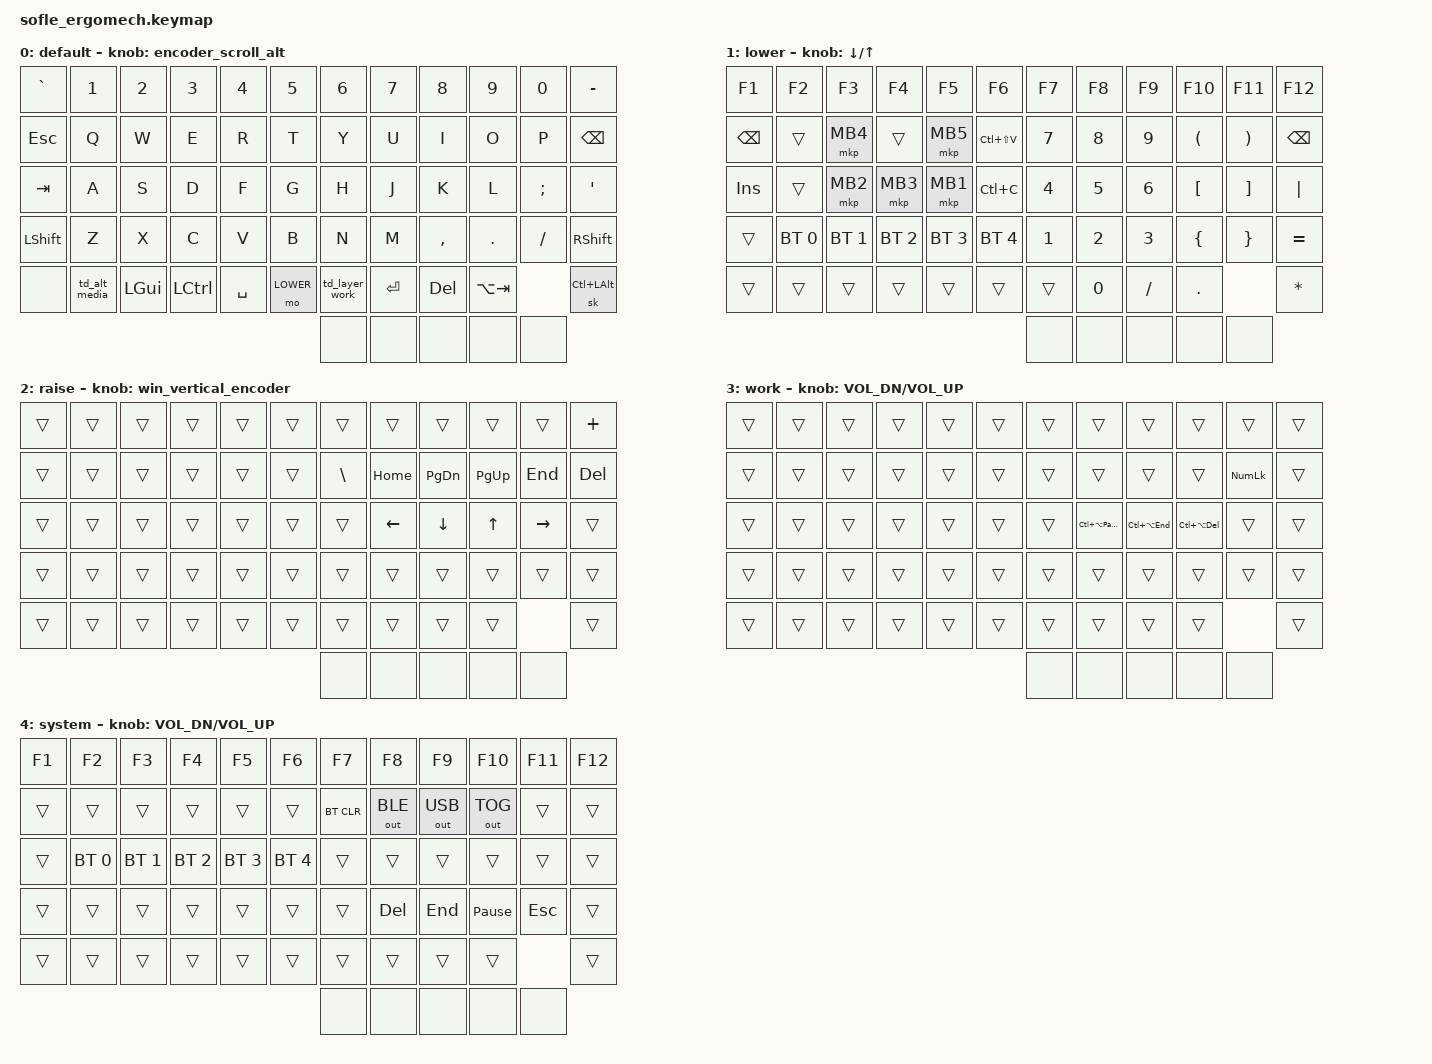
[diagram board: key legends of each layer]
/*
 * Copyright (c) 2020 The ZMK Contributors
 *
 * SPDX-License-Identifier: MIT
 */
// Define pointing magnitudes before including the pointing header.
// MOVE_VAL sets the magnitude of MOVE_* codes (default 600); we only use it
// via encoder_scroll_alt's `&msc MOVE_UP/DOWN` smooth-scroll trick, where it
// acts as the per-detent scroll amount. SCRL_VAL sets ordinary &msc tick size.

#define ZMK_POINTING_DEFAULT_MOVE_VAL 240
#define ZMK_POINTING_DEFAULT_SCRL_VAL 12

// Include pointing device bindings for mouse scroll

#include <behaviors.dtsi>
#include <dt-bindings/zmk/bt.h>
#include <dt-bindings/zmk/keys.h>
#include <dt-bindings/zmk/outputs.h>
#include <dt-bindings/zmk/pointing.h>
#include <input/processors.dtsi>

#define BASE 0
#define LOWER 1
#define RAISE 2
#define WORK 3
#define SYSTEM 4

/ {
    // Activate SYSTEM by holding both inner thumbs (LOWER + RAISE tri-layer)

    conditional_layers {
        compatible = "zmk,conditional-layers";

        system_layer {
            if-layers = <LOWER RAISE>;
            then-layer = <SYSTEM>;
        };
    };

    behaviors {
        // Smooth-scroll encoder behavior using MOVE values

        encoder_scroll_alt: encoder_scroll_alt {
            compatible = "zmk,behavior-sensor-rotate";
            #sensor-binding-cells = <0>;
            bindings = <&msc MOVE_UP>, <&msc MOVE_DOWN>;

            tap-ms = <50>;
        };

        // LOWER is a plain &mo on the thumb (instant, no tap-dance arbitration).
        // RAISE keeps a tap dance so double-tap-hold reaches WORK (RDP chords).
        // 200ms term deliberate: 100ms made the WORK double-tap too tight.
        td_layer_work: tap_dance_layer_work {
            compatible = "zmk,behavior-tap-dance";
            #binding-cells = <0>;
            tapping-term-ms = <200>;
            bindings = <&mo RAISE>, <&mo WORK>;
        };

        // Window minimize/maximize encoder behavior (used in raise_layer)
        win_vertical_encoder: win_vertical_encoder {
            compatible = "zmk,behavior-sensor-rotate";
            #sensor-binding-cells = <0>;
            bindings = <&kp LG(DOWN)>, <&kp LG(UP)>;
        };

        // Plain modified keypresses (COSMIC window management, copy/paste,
        // ctrl-alt chords) are bound directly as &kp LG(...)/LC(...) in the
        // layers below - no macros needed, and held keys get host auto-repeat.

        // ALT tap dance behavior - single tap ALT, double tap play/pause
        // (left outer thumb only; right outer thumb is a dedicated Alt+Tab)
        td_alt_media: tap_dance_alt_media {
            compatible = "zmk,behavior-tap-dance";
            #binding-cells = <0>;
            tapping-term-ms = <100>;
            bindings = <&kp LALT>, <&kp C_PLAY_PAUSE>;
            label = "TAP_DANCE_ALT_MEDIA";
        };
    };

    keymap {
        compatible = "zmk,keymap";

        default_layer {
            label = "default";

            // ------------------------------------------------------------------------------------------------------------
            // |   `   |  1  |  2  |  3   |  4   |  5   |                   |  6   |  7    |  8    |  9   |   0   |   -   |
            // |  ESC  |  Q  |  W  |  E   |  R   |  T   |                   |  Y   |  U    |  I    |  O   |   P   | BKSPC |
            // |  TAB  |  A  |  S  |  D   |  F   |  G   |                   |  H   |  J    |  K    |  L   |   ;   |   '   |
            // | SHIFT |  Z  |  X  |  C   |  V   |  B   |                   |  N   |  M    |  ,    |  .   |   /   | SHIFT |
            //         | -   | ALT | GUI  | CTRL | SPACE| LOWER  | RSE/WORK | ENTER| DEL   | A+TAB | sC+A  |
            // (ALT = tap dance: tap ALT, double-tap play/pause. A+TAB = Alt+Tab; hold to cycle via key repeat.
            //  sC+A = sticky Ctrl+Alt: tap, then tap a target key - both mods apply to it, no holding.
            //  Ctrl+Alt+Del = sC+A then DEL, two right-thumb taps.)

            bindings = <
&kp GRAVE   &kp N1    &kp N2    &kp N3           &kp N4     &kp N5         &kp N6          &kp N7     &kp N8        &kp N9    &kp N0    &kp MINUS
&kp ESC     &kp Q     &kp W     &kp E            &kp R      &kp T          &kp Y           &kp U      &kp I         &kp O     &kp P     &kp BACKSPACE
&kp TAB     &kp A     &kp S     &kp D            &kp F      &kp G          &kp H           &kp J      &kp K         &kp L     &kp SEMI  &kp SQT
&kp LSHIFT  &kp Z     &kp X     &kp C            &kp V      &kp B          &kp N           &kp M      &kp COMMA     &kp DOT   &kp FSLH  &kp RSHIFT
&none       &td_alt_media  &kp LGUI  &kp LCTRL        &kp SPACE  &mo LOWER      &td_layer_work  &kp ENTER  &kp DEL       &kp LA(TAB)  &sk LC(LALT)
                                                                           &none           &none      &none         &none     &none
            >;

            sensor-bindings = <&encoder_scroll_alt>;
        };

        lower_layer {
            label = "lower";

            // ------------------------------------------------------------------------------------------------------------
            // |  F1   |  F2  |  F3  |  F4  |  F5  |  F6   |             |  F7  |  F8 |  F9 |  F10 |  F11 |  F12  |
            // | BKSPC |      | MB4  |      | MB5  | PASTE'|             |  7   |  8  |  9  |  (   |  )   | BKSPC |
            // |  INS  |      | MB2  | MB3  | MB1  | COPY  |             |  4   |  5  |  6  |  [   |  ]   |   |   |
            // |       | BT0  | BT1  | BT2  | BT3  | BT4   |             |  1   |  2  |  3  |  {   |  }   |   =   |
            //         |      |      |      |      |       |             |  ▽   |  0  |  /  |  .   |  *   |
            // (PASTE' = plain paste Ctrl+Shift+V; MBx = mouse buttons; BTx = BLE profile select)
            // Inner right thumb is transparent so LOWER + that thumb falls through
            // to the RAISE tap dance -> LOWER+RAISE tri-layer -> SYSTEM.
            // (Numpad plus lives on RAISE's top-right corner.)

            bindings = <
&kp F1         &kp F2        &kp F3        &kp F4        &kp F5        &kp F6         &kp F7    &kp F8   &kp F9     &kp F10               &kp F11            &kp F12
&kp BACKSPACE  &trans        &mkp MB4      &trans        &mkp MB5      &kp LC(LS(V))  &kp N7    &kp N8   &kp N9     &kp LEFT_PARENTHESIS  &kp RPAR           &kp BACKSPACE
&kp INS        &trans        &mkp MB2      &mkp MB3      &mkp MB1      &kp LC(C)      &kp N4    &kp N5   &kp N6     &kp LEFT_BRACKET      &kp RIGHT_BRACKET  &kp PIPE
&trans         &bt BT_SEL 0  &bt BT_SEL 1  &bt BT_SEL 2  &bt BT_SEL 3  &bt BT_SEL 4   &kp N1    &kp N2   &kp N3     &kp LEFT_BRACE        &kp RIGHT_BRACE    &kp EQUAL
&trans         &trans        &trans        &trans        &trans        &trans         &trans    &kp N0   &kp SLASH  &kp PERIOD            &kp ASTERISK
                                                                                      &none     &none    &none      &none                 &none
            >;

            sensor-bindings = <&inc_dec_kp DOWN UP>;
        };

        raise_layer {
            label = "raise";

            // ------------------------------------------------------------------------------------------------------------
            // |       |     |     |      |      |      |          |      |      |      |      |      |   +   |
            // |       |     |     |      |      |      |          |  \   | HOME | PGDN | PGUP | END  |  DEL  |
            // |       |     |     |      |      |      |          |      |  <-  |  v   |  ^   |  ->  |       |
            // |       |     |     |      |      |      |          |      |      |      |      |      |       |
            //         |     |     |      |      |      |          |      |      |      |      |
            // Encoder: window minimize/maximize (GUI+Down / GUI+Up). Trackpad scrolls on this layer.

            bindings = <
&trans  &trans  &trans  &trans  &trans  &trans  &trans         &trans    &trans    &trans     &trans     &kp PLUS
&trans  &trans  &trans  &trans  &trans  &trans  &kp BACKSLASH  &kp HOME  &kp PG_DN &kp PG_UP  &kp END    &kp DEL
&trans  &trans  &trans  &trans  &trans  &trans  &trans         &kp LEFT  &kp DOWN  &kp UP     &kp RIGHT  &trans
&trans  &trans  &trans  &trans  &trans  &trans  &trans         &trans    &trans    &trans     &trans     &trans
&trans  &trans  &trans  &trans  &trans  &trans  &trans            &trans      &trans    &trans          &trans
                                                &none     &none    &none      &none                 &none
            >;

            sensor-bindings = <&win_vertical_encoder>;
        };

        work_layer {
            label = "work";

            // Ctrl+Alt chords (KVM / remote-session control) + NumLock
            // ------------------------------------------------------------------------------------------------------------
            // |  |  |  |  |  |  |          |         |        |       |        |     |  |
            // |  |  |  |  |  |  |          |         |        |       | NUMLK  |     |  |
            // |  |  |  |  |  |  |          | C-A-Brk | C-A-End| C-A-D |        |     |  |
            // |  |  |  |  |  |  |          |         |        |       |        |     |  |
            //    |  |  |  |  |  |          |         |        |       |        |
            // Encoder: volume down/up

            bindings = <
&trans  &trans  &trans  &trans  &trans  &trans  &trans  &trans                   &trans           &trans           &trans      &trans
&trans  &trans  &trans  &trans  &trans  &trans  &trans  &trans                   &trans           &trans           &kp KP_NUM  &trans
&trans  &trans  &trans  &trans  &trans  &trans  &trans  &kp LC(LA(PAUSE_BREAK))  &kp LC(LA(END))  &kp LC(LA(DEL))  &trans      &trans
&trans  &trans  &trans  &trans  &trans  &trans  &trans  &trans                   &trans           &trans           &trans      &trans
&trans  &trans  &trans  &trans  &trans  &trans  &trans  &trans                   &trans           &trans           &trans
                                                &none   &none                    &none            &none            &none
            >;

            sensor-bindings = <&inc_dec_kp C_VOL_DN C_VOL_UP>;
        };

        system_layer {
            label = "system";

            // ------------------------------------------------------------------------------------------------------------
            // |       |     |     |      |      |      |                |      |      |       |      |       |       |
            // |       |     |     |      |      |      |                |BT_CLR| oBLE | oUSB  | oTOG |       |       |
            // |       |     |     |      |      |      |                |      |      |       |      |       |       |
            // |       |     |     |      |      |      |                |      |      |       |      |       |       |
            //               |     |      |      |      |                |      |      |       |      |
            // (oBLE/oUSB/oTOG = output endpoint selection. The preference persists in
            //  flash, so one press of oBLE keeps typing on Bluetooth even with USB
            //  plugged in for power + CDC-ACM logging; press oUSB to switch back.)

            bindings = <
&kp F1  &kp F2        &kp F3        &kp F4        &kp F5        &kp F6        &kp F7      &kp F8      &kp F9      &kp F10         &kp F11  &kp F12
&trans  &trans        &trans        &trans        &trans        &trans        &bt BT_CLR  &out OUT_BLE  &out OUT_USB  &out OUT_TOG  &trans   &trans
&trans  &bt BT_SEL 0  &bt BT_SEL 1  &bt BT_SEL 2  &bt BT_SEL 3  &bt BT_SEL 4  &trans      &trans   &trans   &trans           &trans   &trans
&trans  &trans        &trans        &trans        &trans        &trans        &trans      &kp DEL  &kp END  &kp PAUSE_BREAK  &kp ESC  &trans
&trans  &trans        &trans        &trans        &trans        &trans        &trans      &trans   &trans   &trans           &trans
                                                                              &none       &none    &none    &none            &none
            >;

            sensor-bindings = <&inc_dec_kp C_VOL_DN C_VOL_UP>;
        };

    };

};

&glidepoint_listener {
    raise_scroll_override {
        layers = <RAISE>;
        input-processors = <&zip_xy_scaler 1 4>, <&zip_xy_to_scroll_mapper>;
    };
};
